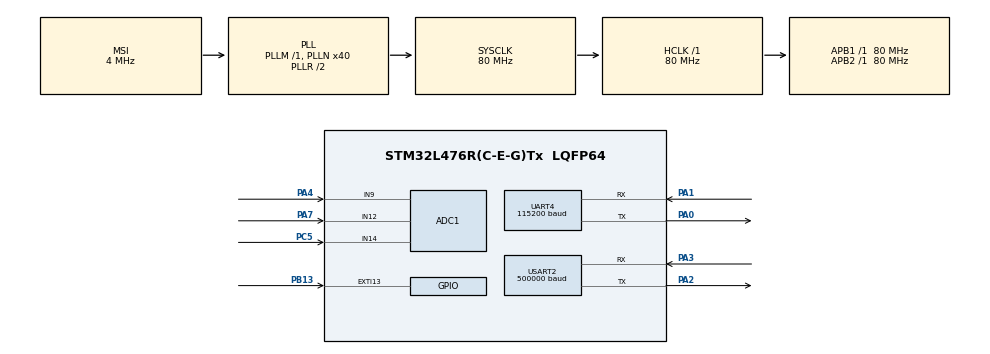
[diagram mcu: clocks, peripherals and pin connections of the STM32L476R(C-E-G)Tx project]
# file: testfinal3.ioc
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ADC1.Channel-0\#ChannelRegularConversion=ADC_CHANNEL_9
ADC1.Channel-1\#ChannelRegularConversion=ADC_CHANNEL_12
ADC1.Channel-2\#ChannelRegularConversion=ADC_CHANNEL_14
ADC1.DMAContinuousRequests=ENABLE
ADC1.ExternalTrigConv=ADC_EXTERNALTRIG_T3_TRGO
ADC1.NbrOfConversion=3
ADC1.NbrOfConversionFlag=1
ADC1.OffsetNumber-0\#ChannelRegularConversion=ADC_OFFSET_NONE
ADC1.OffsetNumber-1\#ChannelRegularConversion=ADC_OFFSET_NONE
ADC1.OffsetNumber-2\#ChannelRegularConversion=ADC_OFFSET_NONE
ADC1.Rank-0\#ChannelRegularConversion=1
ADC1.Rank-1\#ChannelRegularConversion=2
ADC1.Rank-2\#ChannelRegularConversion=3
ADC1.SamplingTime-0\#ChannelRegularConversion=ADC_SAMPLETIME_2CYCLES_5
ADC1.SamplingTime-1\#ChannelRegularConversion=ADC_SAMPLETIME_2CYCLES_5
ADC1.SamplingTime-2\#ChannelRegularConversion=ADC_SAMPLETIME_2CYCLES_5
ADC1.master=1
Dma.ADC1.0.Direction=DMA_PERIPH_TO_MEMORY
Dma.ADC1.0.Instance=DMA1_Channel1
Dma.ADC1.0.MemDataAlignment=DMA_MDATAALIGN_WORD
Dma.ADC1.0.MemInc=DMA_MINC_ENABLE
Dma.ADC1.0.Mode=DMA_CIRCULAR
Dma.ADC1.0.PeriphDataAlignment=DMA_PDATAALIGN_WORD
Dma.ADC1.0.PeriphInc=DMA_PINC_DISABLE
Dma.ADC1.0.Priority=DMA_PRIORITY_HIGH
Dma.Request0=ADC1
Mcu.Family=STM32L4
Mcu.Name=STM32L476R(C-E-G)Tx
Mcu.Package=LQFP64
NVIC.DMA1_Channel1_IRQn=true\:0\:0\:false\:false\:true\:false\:true\:true
NVIC.EXTI15_10_IRQn=true\:14\:0\:true\:false\:true\:true\:true\:true
NVIC.PriorityGroup=NVIC_PRIORITYGROUP_4
NVIC.UART4_IRQn=true\:15\:0\:true\:false\:true\:true\:true\:true
NVIC.USART2_IRQn=true\:0\:0\:false\:false\:true\:true\:true\:true
PA0.Mode=Asynchronous
PA0.Signal=UART4_TX
PA1.Mode=Asynchronous
PA1.Signal=UART4_RX
PA2.Mode=Asynchronous
PA2.Signal=USART2_TX
PA3.Mode=Asynchronous
PA3.Signal=USART2_RX
PA4.Signal=ADCx_IN9
PA7.Signal=ADCx_IN12
PB13.Signal=GPXTI13
PC5.Signal=ADCx_IN14
ProjectManager.HeapSize=0x200
ProjectManager.StackSize=0x400
ProjectManager.TargetToolchain=STM32CubeIDE
RCC.ADCFreq_Value=32000000
RCC.AHBFreq_Value=80000000
RCC.APB1Freq_Value=80000000
RCC.APB1TimFreq_Value=80000000
RCC.APB2Freq_Value=80000000
RCC.APB2TimFreq_Value=80000000
RCC.CortexFreq_Value=80000000
RCC.HCLKFreq_Value=80000000
RCC.HSE_VALUE=8000000
RCC.HSI_VALUE=16000000
RCC.LSE_VALUE=32768
RCC.MSI_VALUE=4000000
RCC.PLLN=40
RCC.PLLSAI1N=16
RCC.SYSCLKFreq_VALUE=80000000
RCC.SYSCLKSource=RCC_SYSCLKSOURCE_PLLCLK
RCC.USBFreq_Value=32000000
RCC.VCOOutputFreq_Value=160000000
SH.ADCx_IN12.0=ADC1_IN12,IN12-Single-Ended
SH.ADCx_IN14.0=ADC1_IN14,IN14-Single-Ended
SH.ADCx_IN9.0=ADC1_IN9,IN9-Single-Ended
TIM3.Period=999
TIM3.Prescaler=79
TIM3.TIM_MasterOutputTrigger=TIM_TRGO_UPDATE
UART4.BaudRate=115200
USART2.BaudRate=500000
USART2.VirtualMode-Asynchronous=VM_ASYNC
VP_TIM3_VS_ClockSourceINT.Mode=Internal
board=custom

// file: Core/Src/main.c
/* USER CODE BEGIN Header */
/**
  ******************************************************************************
  * @file           : main.c
  * @brief          : Main program body
  ******************************************************************************
  * @attention
  *
  * Copyright (c) 2025 STMicroelectronics.
  * All rights reserved.
  *
  * This software is licensed under terms that can be found in the LICENSE file
  * in the root directory of this software component.
  * If no LICENSE file comes with this software, it is provided AS-IS.
  *
  ******************************************************************************
  */
/* USER CODE END Header */
#include "main.h"

/* USER CODE BEGIN Includes */
#include <stdio.h>
#include <stdlib.h>
#include <string.h>
#include <errno.h>
#include <fcntl.h>
#include <time.h>
#include <assert.h>
#include <math.h>
#include "function.h"
#define ADC_SCALE (3.0f / 4095.0f)  // ≈ 0.0007326
#define MIDPOINT  1.27f

/* USER CODE END Includes */

ADC_HandleTypeDef hadc1;
DMA_HandleTypeDef hdma_adc1;

TIM_HandleTypeDef htim3;

UART_HandleTypeDef huart4;
UART_HandleTypeDef huart2;

void SystemClock_Config(void);
static void MX_GPIO_Init(void);
static void MX_DMA_Init(void);
static void MX_ADC1_Init(void);
static void MX_TIM3_Init(void);
static void MX_USART2_UART_Init(void);
static void MX_UART4_Init(void);

/* USER CODE BEGIN 0 */
static uint32_t ADC_VAL1[300];

 uint8_t UART2_rxBuffer;
uint8_t UART4_rxBuffer;

volatile uint8_t uart_flag = 0;
volatile uint8_t uart_flag2 = 0;
int flag = 0;
static int indext1 = 0;
static float TestData1[300];
static float Wg1[FEATURE_DIM * CLASS];
static float Cg1[CLASS];
static float xmean1[FEATURE_DIM];
static float xstd1[FEATURE_DIM];

#define TESTDATA_SIZE 1000
uint32_t indext = 0;
float TestData3[TESTDATA_SIZE];
#define BUFFER_SIZE 10  // Number of recent predictions to keep
int decision_buffer[BUFFER_SIZE] = {0};  // Circular buffer
int buffer_index = 0;                    // Next position to write
int buffer_count = 0;                    // Number of valid entries

void RunLDATest()
{
    int test_decision1 = LDA_test(TestData1, Wg1, Cg1, xmean1, xstd1);

    // Store the prediction
    decision_buffer[buffer_index] = test_decision1;

    // Advance the circular buffer index
    buffer_index = (buffer_index + 1) % BUFFER_SIZE;

    // Keep track of how many entries have been added (max = BUFFER_SIZE)
    if (buffer_count < BUFFER_SIZE)
        buffer_count++;

    // Only run majority vote if buffer is full
    if (buffer_count == BUFFER_SIZE)
    {
        int stable_decision = majority_vote(decision_buffer, BUFFER_SIZE);

        // Send result over UART
        char message[32];
        sprintf(message, "$EMG,%d\r\n", stable_decision);
//        sprintf(message, "MILTON_AND_CO.,%d\r\n", stable_decision);

        HAL_UART_Transmit(&huart2, (uint8_t *)message, strlen(message), 100);
        HAL_UART_Transmit(&huart4, (uint8_t *)message, strlen(message), 100);

        buffer_count = 0;
        buffer_index = 0;
    }
}

/* USER CODE END 0 */

int main(void)
{

  /* USER CODE BEGIN 1 */
	float Wg_init[36] = {
	    1.203285, 1.432663, -2.635955,
	    -1.204723, -0.117819, 1.322563,
	    3.485309, 2.966371, -6.451684,
	    1.222709, 1.016439, -2.239202,
	    0.119867, 0.032284, -0.152237,
	    0.133887, 0.191212, -0.324726,
	    -0.568710, -0.496790, 1.065330,
	    -0.367995, -0.460594, 0.828552,
	    0.671714, 0.905747, -1.577430,
	    -0.095266, -0.362608, 0.457900,
	    0.366021, 0.630570, -0.996649,
	    0.648682, 0.762811, -1.411513
	};

	float Cg_init[3] = {
	    -2.120237, -2.422312, -8.669210
	};

	float xstd_init[12] = {
	    0.004691, 0.001187, 0.257128, 0.319867,
	    0.000808, 0.000077, 0.067620, 0.175546,
	    0.002201, 0.000220, 0.167961, 0.306624
	};

	float xmean_init[12] = {
	    0.007089, -0.006976, 0.388777, 0.804715,
	    0.002273, -0.007883, 0.093319, 0.535129,
	    0.004006, -0.007730, 0.231501, 0.714614};

  /* USER CODE END 1 */

  /* MCU Configuration--------------------------------------------------------*/

  /* Reset of all peripherals, Initializes the Flash interface and the Systick. */
  HAL_Init();

  /* USER CODE BEGIN Init */

  for (int i = 0; i < FEATURE_DIM * CLASS; i++)
  {
            Wg1[i] = Wg_init[i];
        }
        for (int i = 0; i < CLASS; i++) {
            Cg1[i] = Cg_init[i];
        }
        for (int i = 0; i < FEATURE_DIM; i++)
        {
            xmean1[i] = xmean_init[i];
            xstd1[i] = xstd_init[i];
        }

  /* USER CODE END Init */

  /* Configure the system clock */
  SystemClock_Config();

  /* Initialize all configured peripherals */
  MX_GPIO_Init();
  MX_DMA_Init();
  MX_ADC1_Init();
  MX_TIM3_Init();
  MX_USART2_UART_Init();
  MX_UART4_Init();
  /* USER CODE BEGIN 2 */
  HAL_UART_Receive_IT (&huart2, &UART2_rxBuffer, 1);
  //HAL_TIM_Base_Start(&htim3);
  //HAL_ADC_Start_DMA(&hadc1,ADC_VAL, 3);

  /* USER CODE END 2 */

  /* Infinite loop */
  while (1)
  {

  }
}

void SystemClock_Config(void)
{
  RCC_OscInitTypeDef RCC_OscInitStruct = {0};
  RCC_ClkInitTypeDef RCC_ClkInitStruct = {0};

  /** Configure the main internal regulator output voltage
  */
  if (HAL_PWREx_ControlVoltageScaling(PWR_REGULATOR_VOLTAGE_SCALE1) != HAL_OK)
  {
    Error_Handler();
  }

  /** Initializes the RCC Oscillators according to the specified parameters
  * in the RCC_OscInitTypeDef structure.
  */
  RCC_OscInitStruct.OscillatorType = RCC_OSCILLATORTYPE_MSI;
  RCC_OscInitStruct.MSIState = RCC_MSI_ON;
  RCC_OscInitStruct.MSICalibrationValue = 0;
  RCC_OscInitStruct.MSIClockRange = RCC_MSIRANGE_6;
  RCC_OscInitStruct.PLL.PLLState = RCC_PLL_ON;
  RCC_OscInitStruct.PLL.PLLSource = RCC_PLLSOURCE_MSI;
  RCC_OscInitStruct.PLL.PLLM = 1;
  RCC_OscInitStruct.PLL.PLLN = 40;
  RCC_OscInitStruct.PLL.PLLP = RCC_PLLP_DIV7;
  RCC_OscInitStruct.PLL.PLLQ = RCC_PLLQ_DIV2;
  RCC_OscInitStruct.PLL.PLLR = RCC_PLLR_DIV2;
  if (HAL_RCC_OscConfig(&RCC_OscInitStruct) != HAL_OK)
  {
    Error_Handler();
  }

  /** Initializes the CPU, AHB and APB buses clocks
  */
  RCC_ClkInitStruct.ClockType = RCC_CLOCKTYPE_HCLK|RCC_CLOCKTYPE_SYSCLK
                              |RCC_CLOCKTYPE_PCLK1|RCC_CLOCKTYPE_PCLK2;
  RCC_ClkInitStruct.SYSCLKSource = RCC_SYSCLKSOURCE_PLLCLK;
  RCC_ClkInitStruct.AHBCLKDivider = RCC_SYSCLK_DIV1;
  RCC_ClkInitStruct.APB1CLKDivider = RCC_HCLK_DIV1;
  RCC_ClkInitStruct.APB2CLKDivider = RCC_HCLK_DIV1;

  if (HAL_RCC_ClockConfig(&RCC_ClkInitStruct, FLASH_LATENCY_4) != HAL_OK)
  {
    Error_Handler();
  }
}

static void MX_ADC1_Init(void)
{

  ADC_MultiModeTypeDef multimode = {0};
  ADC_ChannelConfTypeDef sConfig = {0};

  /** Common config
  */
  hadc1.Instance = ADC1;
  hadc1.Init.ClockPrescaler = ADC_CLOCK_ASYNC_DIV1;
  hadc1.Init.Resolution = ADC_RESOLUTION_12B;
  hadc1.Init.DataAlign = ADC_DATAALIGN_RIGHT;
  hadc1.Init.ScanConvMode = ADC_SCAN_ENABLE;
  hadc1.Init.EOCSelection = ADC_EOC_SINGLE_CONV;
  hadc1.Init.LowPowerAutoWait = DISABLE;
  hadc1.Init.ContinuousConvMode = DISABLE;
  hadc1.Init.NbrOfConversion = 3;
  hadc1.Init.DiscontinuousConvMode = DISABLE;
  hadc1.Init.ExternalTrigConv = ADC_EXTERNALTRIG_T3_TRGO;
  hadc1.Init.ExternalTrigConvEdge = ADC_EXTERNALTRIGCONVEDGE_RISING;
  hadc1.Init.DMAContinuousRequests = ENABLE;
  hadc1.Init.Overrun = ADC_OVR_DATA_PRESERVED;
  hadc1.Init.OversamplingMode = DISABLE;
  if (HAL_ADC_Init(&hadc1) != HAL_OK)
  {
    Error_Handler();
  }

  /** Configure the ADC multi-mode
  */
  multimode.Mode = ADC_MODE_INDEPENDENT;
  if (HAL_ADCEx_MultiModeConfigChannel(&hadc1, &multimode) != HAL_OK)
  {
    Error_Handler();
  }

  /** Configure Regular Channel
  */
  sConfig.Channel = ADC_CHANNEL_9;
  sConfig.Rank = ADC_REGULAR_RANK_1;
  sConfig.SamplingTime = ADC_SAMPLETIME_2CYCLES_5;
  sConfig.SingleDiff = ADC_SINGLE_ENDED;
  sConfig.OffsetNumber = ADC_OFFSET_NONE;
  sConfig.Offset = 0;
  if (HAL_ADC_ConfigChannel(&hadc1, &sConfig) != HAL_OK)
  {
    Error_Handler();
  }

  /** Configure Regular Channel
  */
  sConfig.Channel = ADC_CHANNEL_12;
  sConfig.Rank = ADC_REGULAR_RANK_2;
  if (HAL_ADC_ConfigChannel(&hadc1, &sConfig) != HAL_OK)
  {
    Error_Handler();
  }

  /** Configure Regular Channel
  */
  sConfig.Channel = ADC_CHANNEL_14;
  sConfig.Rank = ADC_REGULAR_RANK_3;
  if (HAL_ADC_ConfigChannel(&hadc1, &sConfig) != HAL_OK)
  {
    Error_Handler();
  }

}

static void MX_TIM3_Init(void)
{

  TIM_ClockConfigTypeDef sClockSourceConfig = {0};
  TIM_MasterConfigTypeDef sMasterConfig = {0};

  htim3.Instance = TIM3;
  htim3.Init.Prescaler = 79;
  htim3.Init.CounterMode = TIM_COUNTERMODE_UP;
  htim3.Init.Period = 999;
  htim3.Init.ClockDivision = TIM_CLOCKDIVISION_DIV1;
  htim3.Init.AutoReloadPreload = TIM_AUTORELOAD_PRELOAD_DISABLE;
  if (HAL_TIM_Base_Init(&htim3) != HAL_OK)
  {
    Error_Handler();
  }
  sClockSourceConfig.ClockSource = TIM_CLOCKSOURCE_INTERNAL;
  if (HAL_TIM_ConfigClockSource(&htim3, &sClockSourceConfig) != HAL_OK)
  {
    Error_Handler();
  }
  sMasterConfig.MasterOutputTrigger = TIM_TRGO_UPDATE;
  sMasterConfig.MasterSlaveMode = TIM_MASTERSLAVEMODE_DISABLE;
  if (HAL_TIMEx_MasterConfigSynchronization(&htim3, &sMasterConfig) != HAL_OK)
  {
    Error_Handler();
  }

}

static void MX_UART4_Init(void)
{

  huart4.Instance = UART4;
  huart4.Init.BaudRate = 115200;
  huart4.Init.WordLength = UART_WORDLENGTH_8B;
  huart4.Init.StopBits = UART_STOPBITS_1;
  huart4.Init.Parity = UART_PARITY_NONE;
  huart4.Init.Mode = UART_MODE_TX_RX;
  huart4.Init.HwFlowCtl = UART_HWCONTROL_NONE;
  huart4.Init.OverSampling = UART_OVERSAMPLING_16;
  huart4.Init.OneBitSampling = UART_ONE_BIT_SAMPLE_DISABLE;
  huart4.AdvancedInit.AdvFeatureInit = UART_ADVFEATURE_NO_INIT;
  if (HAL_UART_Init(&huart4) != HAL_OK)
  {
    Error_Handler();
  }

}

static void MX_USART2_UART_Init(void)
{

  huart2.Instance = USART2;
  huart2.Init.BaudRate = 500000;
  huart2.Init.WordLength = UART_WORDLENGTH_8B;
  huart2.Init.StopBits = UART_STOPBITS_1;
  huart2.Init.Parity = UART_PARITY_NONE;
  huart2.Init.Mode = UART_MODE_TX_RX;
  huart2.Init.HwFlowCtl = UART_HWCONTROL_NONE;
  huart2.Init.OverSampling = UART_OVERSAMPLING_16;
  huart2.Init.OneBitSampling = UART_ONE_BIT_SAMPLE_DISABLE;
  huart2.AdvancedInit.AdvFeatureInit = UART_ADVFEATURE_NO_INIT;
  if (HAL_UART_Init(&huart2) != HAL_OK)
  {
    Error_Handler();
  }

}

static void MX_DMA_Init(void)
{

  /* DMA controller clock enable */
  __HAL_RCC_DMA1_CLK_ENABLE();

  /* DMA interrupt init */
  /* DMA1_Channel1_IRQn interrupt configuration */
  HAL_NVIC_SetPriority(DMA1_Channel1_IRQn, 0, 0);
  HAL_NVIC_EnableIRQ(DMA1_Channel1_IRQn);

}

static void MX_GPIO_Init(void)
{
  GPIO_InitTypeDef GPIO_InitStruct = {0};

  /* GPIO Ports Clock Enable */
  __HAL_RCC_GPIOA_CLK_ENABLE();
  __HAL_RCC_GPIOC_CLK_ENABLE();
  __HAL_RCC_GPIOB_CLK_ENABLE();

  /*Configure GPIO pin : PB13 */
  GPIO_InitStruct.Pin = GPIO_PIN_13;
  GPIO_InitStruct.Mode = GPIO_MODE_IT_RISING;
  GPIO_InitStruct.Pull = GPIO_NOPULL;
  HAL_GPIO_Init(GPIOB, &GPIO_InitStruct);

  /* EXTI interrupt init*/
  HAL_NVIC_SetPriority(EXTI15_10_IRQn, 14, 0);
  HAL_NVIC_EnableIRQ(EXTI15_10_IRQn);

}

/* USER CODE BEGIN 4 */

void HAL_GPIO_EXTI_Callback(uint16_t GPIO_Pin)
{
  if((GPIO_Pin == GPIO_PIN_13)&&(flag==0))
  {
	  HAL_TIM_Base_Start(&htim3);
	  HAL_ADC_Start_DMA(&hadc1, ADC_VAL1, 300);
	  flag = 1;
  }

}

// Global receive buffers
uint8_t UART2_rxBuffer;
uint8_t UART4_rxBuffer;

void HAL_UART_RxCpltCallback(UART_HandleTypeDef *huart)
{

	HAL_UART_Transmit(&huart2, (uint8_t *)"UART2 received: ", 16, 100);
	HAL_UART_Transmit(&huart2, &UART2_rxBuffer, 1, 100);
	HAL_UART_Transmit(&huart2, (uint8_t *)"\r\n", 2, 100);

	// ADC Collection Only
	if (UART2_rxBuffer == 'z') {
		HAL_TIM_Base_Start(&htim3);
		HAL_ADC_Start_DMA(&hadc1, ADC_VAL1, 300);
		indext1 = 0;
		uart_flag = 1;
		uart_flag2 =0;
	}
	// Real Time Only
	else if (UART2_rxBuffer == 'x') {
		HAL_TIM_Base_Start(&htim3);
		HAL_ADC_Start_DMA(&hadc1, ADC_VAL1, 300);
		indext1 = 0;
		uart_flag = 0;
		uart_flag2 = 1;
	}
	// Real Time and ADC collection
	else if (UART2_rxBuffer == 'c')
	{
		HAL_TIM_Base_Start(&htim3);
		HAL_ADC_Start_DMA(&hadc1, ADC_VAL1, 300);
		indext1 = 0;
		uart_flag = 1;
		uart_flag2 = 1;

	}
	else
	{
		HAL_TIM_Base_Stop(&htim3);
		HAL_ADC_Stop_DMA(&hadc1);
		indext1 = 0;
		uart_flag = 0;
		uart_flag2 = 0;
	}
	HAL_UART_Receive_IT(&huart2, &UART2_rxBuffer, 1);

}

void HAL_ADC_ConvHalfCpltCallback(ADC_HandleTypeDef *hadc)
{
    if (uart_flag == 1)
    {
        // Skip processing — or add logic if needed during uart_flag = 1
    	 uint32_t current_index = indext;

    	    // Store the first 150 ADC samples into the circular buffer
    	    for (int i = 0; i < 150; i++)
    	    {
    	        TestData3[(current_index + i) % TESTDATA_SIZE] = (float)ADC_VAL1[i];
    	    }

    	    char message[20]; // Enough for 3 integers + commas + newline

    	    for (int i = 0; i < 150; i += 3)
    	    {
    	        if (i + 2 < 150)
    	        {
    	            // Format and send 3 values at a time
    	            sprintf(message, "%d,%d,%d\r\n",
    	                    (int)TestData3[(current_index + i) % TESTDATA_SIZE],
    	                    (int)TestData3[(current_index + i + 1) % TESTDATA_SIZE],
    	                    (int)TestData3[(current_index + i + 2) % TESTDATA_SIZE]);

    	            HAL_UART_Transmit(&huart2, (uint8_t *)message, strlen(message), HAL_MAX_DELAY);
    	        }
    	    }

    	    // Advance circular buffer index
    	    indext = (indext + 150) % TESTDATA_SIZE;
    }

    else if (uart_flag2 == 1)
        {

        // Store ADC values from first half of DMA buffer
        if (indext1 < 300)
        {
            for (int i = 0; i < 150; i++) {
                TestData1[indext1 + i] = ((float)ADC_VAL1[i] * ADC_SCALE) - MIDPOINT;

            }
            indext1 += 150;
        }
        else
        {
            // Shift old values
            for (int i = 0; i < 150; i++) {
                TestData1[i] = TestData1[i + 150];
            }

            // Add new samples to end
            for (int i = 0; i < 150; i++) {
                TestData1[150 + i] = ((float)ADC_VAL1[i] * ADC_SCALE) - MIDPOINT;
            }

            RunLDATest();  // Run your classifier here
        }
        }
}

void HAL_ADC_ConvCpltCallback(ADC_HandleTypeDef *hadc)
{

	  if (uart_flag == 1)
	    {

		    uint32_t current_index = indext;

		    // Store 150 ADC values (from index 150 to 299) in TestData circular buffer
		    for (int i = 0; i < 150; i++)
		    {
		        TestData3[(current_index + i) % TESTDATA_SIZE] = (float)ADC_VAL1[i + 150];
		    }

		    char message[20]; // Buffer for transmitting 3 values as comma-separated text
		    for (int i = 0; i < 150; i += 3)
		    {
		        if (i + 2 < 150)
		        {
		            // Just send the values without any labels
		            sprintf(message, "%d,%d,%d\r\n",
		                    (int)TestData3[(current_index + i) % TESTDATA_SIZE],
		                    (int)TestData3[(current_index + i + 1) % TESTDATA_SIZE],
		                    (int)TestData3[(current_index + i + 2) % TESTDATA_SIZE]);

		            HAL_UART_Transmit(&huart2, (uint8_t *)message, strlen(message), HAL_MAX_DELAY);
		        }
		    }
		    // Update circular buffer index
		    indext = (indext + 150) % TESTDATA_SIZE;

	    }
	  else if (uart_flag2 == 1)
	  	    {

	    	 if (indext1 <300)
	    	    {
	    	        for (int i = 0; i < 150; i++)
	    	        {
	    	            TestData1[indext1 + i] = ((float)ADC_VAL1[i + 150] * ADC_SCALE) - MIDPOINT; // Fix: Correct indexing
	    	        }

	    	        indext1 += 150;
	    	    }
	    	    else
	    	    {
	    	        // Shift left (remove oldest values)
	    	        for (int i = 0; i < 150; i++)  // Fix: Stop at index 21 to prevent out-of-bounds
	    	        {
	    	            TestData1[i] = TestData1[i + 150];
	    	        }

	    	        // Add new values to the end
	    	        for (int i = 0; i < 150; i++)
	    	        {
	    	            TestData1[150 + i] = ((float)ADC_VAL1[i + 150] * ADC_SCALE) - MIDPOINT;

	    	        }
	    	        RunLDATest();

	    	    }
	  	    }

}

/* USER CODE END 4 */

void Error_Handler(void)
{
  __disable_irq();
  while (1)
  {
  }
}
